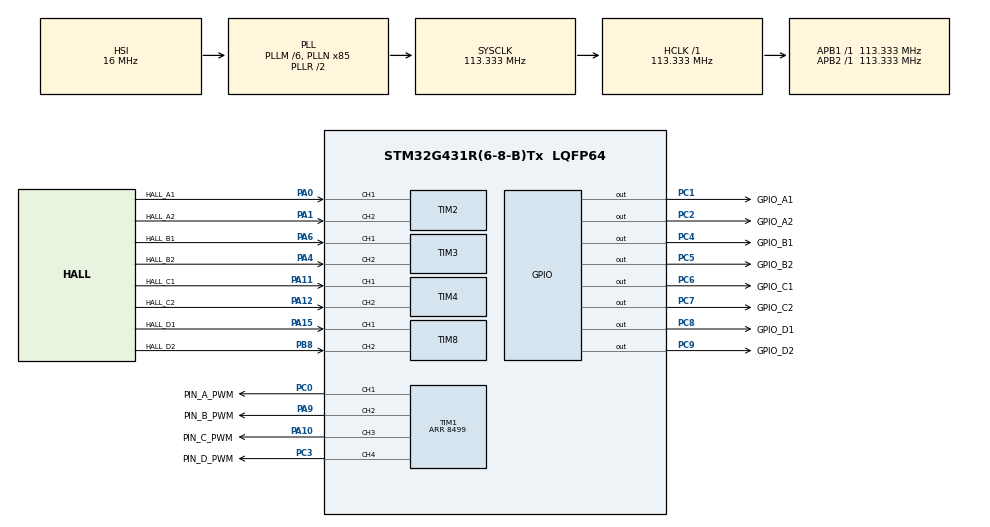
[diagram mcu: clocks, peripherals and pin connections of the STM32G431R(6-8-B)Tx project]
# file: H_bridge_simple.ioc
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Mcu.Family=STM32G4
Mcu.Name=STM32G431R(6-8-B)Tx
Mcu.Package=LQFP64
NUCLEO-G431RB.BUTTON=1
NUCLEO-G431RB.LD1=true
NUCLEO-G431RB.VCP=true
NVIC.EXTI15_10_IRQn=true\:0\:0\:false\:false\:true\:false\:true\:true
NVIC.PriorityGroup=NVIC_PRIORITYGROUP_4
PA0.GPIO_Label=HALL_A1
PA0.Signal=S_TIM2_CH1
PA1.GPIO_Label=HALL_A2
PA1.Signal=S_TIM2_CH2
PA10.GPIO_Label=PIN_C_PWM
PA10.Signal=S_TIM1_CH3
PA11.GPIO_Label=HALL_C1
PA11.Signal=S_TIM4_CH1
PA12.GPIO_Label=HALL_C2
PA12.Signal=S_TIM4_CH2
PA13.GPIO_Label=T_SWDIO
PA13.Signal=SYS_JTMS-SWDIO
PA14.GPIO_Label=T_SWCLK
PA14.Signal=SYS_JTCK-SWCLK
PA15.GPIO_Label=HALL_D1
PA15.Signal=S_TIM8_CH1
PA2.Signal=LPUART1_TX
PA3.Signal=LPUART1_RX
PA4.GPIO_Label=HALL_B2
PA4.Signal=S_TIM3_CH2
PA6.GPIO_Label=HALL_B1
PA6.Signal=S_TIM3_CH1
PA9.GPIO_Label=PIN_B_PWM
PA9.Signal=S_TIM1_CH2
PB3.GPIO_Label=T_SWO
PB3.Signal=SYS_JTDO-SWO
PB8-BOOT0.GPIO_Label=HALL_D2
PB8-BOOT0.Signal=S_TIM8_CH2
PC0.GPIO_Label=PIN_A_PWM
PC0.Signal=S_TIM1_CH1
PC1.GPIO_Label=GPIO_A1
PC1.Signal=GPIO_Output
PC14-OSC32_IN.GPIO_Label=RCC_OSC32_OUT
PC14-OSC32_IN.Signal=RCC_OSC32_IN
PC15-OSC32_OUT.GPIO_Label=RCC_OSC32_OUT
PC15-OSC32_OUT.Signal=RCC_OSC32_OUT
PC2.GPIO_Label=GPIO_A2
PC2.Signal=GPIO_Output
PC3.GPIO_Label=PIN_D_PWM
PC3.Signal=S_TIM1_CH4
PC4.GPIO_Label=GPIO_B1
PC4.Signal=GPIO_Output
PC5.GPIO_Label=GPIO_B2
PC5.Signal=GPIO_Output
PC6.GPIO_Label=GPIO_C1
PC6.Signal=GPIO_Output
PC7.GPIO_Label=GPIO_C2
PC7.Signal=GPIO_Output
PC8.GPIO_Label=GPIO_D1
PC8.Signal=GPIO_Output
PC9.GPIO_Label=GPIO_D2
PC9.Signal=GPIO_Output
PF0-OSC_IN.GPIO_Label=RCC_OSC_IN
PF0-OSC_IN.Signal=RCC_OSC_IN
PF1-OSC_OUT.GPIO_Label=RCC_OSC_OUT
PF1-OSC_OUT.Signal=RCC_OSC_OUT
ProjectManager.HeapSize=0x200
ProjectManager.StackSize=0x400
ProjectManager.TargetToolchain=STM32CubeIDE
RCC.ADC12Freq_Value=113333333.33333333
RCC.AHBFreq_Value=113333333.33333333
RCC.APB1Freq_Value=113333333.33333333
RCC.APB1TimFreq_Value=113333333.33333333
RCC.APB2Freq_Value=113333333.33333333
RCC.APB2TimFreq_Value=113333333.33333333
RCC.CortexFreq_Value=113333333.33333333
RCC.EXTERNAL_CLOCK_VALUE=12288000
RCC.HCLKFreq_Value=113333333.33333333
RCC.HSE_VALUE=24000000
RCC.HSI48_VALUE=48000000
RCC.HSI_VALUE=16000000
RCC.LSE_VALUE=32768
RCC.PLLM=RCC_PLLM_DIV6
RCC.PLLN=85
RCC.RTCClockSelection=RCC_RTCCLKSOURCE_LSE
RCC.SYSCLKFreq_VALUE=113333333.33333333
RCC.SYSCLKSource=RCC_SYSCLKSOURCE_PLLCLK
RCC.USBFreq_Value=113333333.33333333
RCC.VCOOutputFreq_Value=226666666.66666666
SH.S_TIM1_CH1.0=TIM1_CH1,PWM Generation1 CH1
SH.S_TIM1_CH2.0=TIM1_CH2,PWM Generation2 CH2
SH.S_TIM1_CH3.0=TIM1_CH3,PWM Generation3 CH3
SH.S_TIM1_CH4.0=TIM1_CH4,PWM Generation4 CH4
SH.S_TIM2_CH1.0=TIM2_CH1,Encoder_Interface
SH.S_TIM2_CH2.0=TIM2_CH2,Encoder_Interface
SH.S_TIM3_CH1.0=TIM3_CH1,Encoder_Interface
SH.S_TIM3_CH2.0=TIM3_CH2,Encoder_Interface
SH.S_TIM4_CH1.0=TIM4_CH1,Encoder_Interface
SH.S_TIM4_CH2.0=TIM4_CH2,Encoder_Interface
SH.S_TIM8_CH1.0=TIM8_CH1,Encoder_Interface
SH.S_TIM8_CH2.0=TIM8_CH2,Encoder_Interface
TIM1.AutoReloadPreload=TIM_AUTORELOAD_PRELOAD_ENABLE
TIM1.Channel-PWM\ Generation1\ CH1=TIM_CHANNEL_1
TIM1.Channel-PWM\ Generation2\ CH2=TIM_CHANNEL_2
TIM1.Channel-PWM\ Generation3\ CH3=TIM_CHANNEL_3
TIM1.Channel-PWM\ Generation4\ CH4=TIM_CHANNEL_4
TIM1.PeriodNoDither=8499
VP_NUCLEO-G431RB_VS_BSP_COMMON.Mode=COMMON
VP_SYS_VS_DBSignals.Mode=DisableDeadBatterySignals
VP_TIM1_VS_ClockSourceINT.Mode=Internal
board=NUCLEO-G431RB

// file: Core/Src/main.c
/* USER CODE BEGIN Header */
/**
  * Control code for four HTW77 linear actuators, driven by HC106AS2 H-bridge controllers.
  *
  * Per actuator:
  *   IN1/IN2 (GPIOC)   -> direction
  *   TIM1_CHx PWM      -> speed
  *   TIMx encoder      -> Hall A/B quadrature, counted in hardware
  *
  * Pin / timer map (see .ioc):
  *   A: PWM TIM1_CH1 (PC0)  Hall TIM2 (PA0, PA1)
  *   B: PWM TIM1_CH2 (PA9)  Hall TIM3 (PA6, PA4)
  *   C: PWM TIM1_CH3 (PA10) Hall TIM4 (PA11, PA12)
  *   D: PWM TIM1_CH4 (PC3)  Hall TIM8 (PA15, PB8)   <- PB8 is BOOT0, see notes
  *
  * Usage:
  *   actuators_home_all();                         // drive to retracted end stop, zero counts
  *   actuator_goto_mm(ACTUATOR_A, 120.0f, 0.5f, true);
  *   actuator_move_mm(ACTUATOR_B, -20.0f, 0.5f, true);
  *   actuators_wait();                             // runs actuators_tick() until all moves end
  */
/* USER CODE END Header */
#include "main.h"

/* USER CODE BEGIN Includes */
#include <stdio.h>
#include <stdint.h>
#include <stdbool.h>
#include <stddef.h>
#include <math.h>
/* USER CODE END Includes */

/* USER CODE BEGIN PTD */

// ---------- MOTOR COMMANDS -----------
typedef enum {
	CMD_STOP    = 0b00,
	CMD_FORWARD = 0b10,   // bit 1 -> IN1
	CMD_REVERSE = 0b01,   // bit 0 -> IN2
} ActuatorCommand_t;

typedef enum {
	ACTUATOR_A,
	ACTUATOR_B,
	ACTUATOR_C,
	ACTUATOR_D,
	ACTUATOR_COUNT        // keep last: number of actuators
} ActuatorId_t;

typedef enum {
	MOVE_IDLE,
	MOVE_RUNNING,
	MOVE_DONE,
	MOVE_STALLED,
	MOVE_TIMEOUT
} MoveStatus_t;

// Constant configuration (lives in flash)
typedef struct {
	uint16_t           pin_in1;      // GPIO mask, all direction pins are on PIN_PORT
	uint16_t           pin_in2;
	uint32_t           pwm_channel;  // TIM_CHANNEL_x on TIM1 (NOT a GPIO pin)
	TIM_HandleTypeDef *enc_tim;      // encoder timer for this actuator's Hall sensors
} ActuatorCfg_t;

// Mutable runtime state (lives in RAM)
typedef struct {
	int32_t      dist;            // accumulated encoder counts, + = forward
	uint16_t     last_cnt;        // raw counter value at the last position_update()
	bool         homed;           // dist == 0 means fully retracted, once homed

	int32_t      target;          // target position in counts
	int32_t      prev_dist;       // for stall detection
	int8_t       dir;             // +1 forward, -1 reverse
	float        duty;            // duty requested for the current move
	MoveStatus_t status;
	uint32_t     start_ms;
	uint32_t     last_change_ms;
	uint32_t     timeout_ms;
	bool         slowed;
} ActuatorState_t;

typedef struct {
	float KP;
	float KI;
	float KD;

} ActuatorPID;

/* USER CODE END PTD */

/* USER CODE BEGIN PD */

	// All direction pins are on this port
#define PIN_PORT          GPIOC

	// Direction pin masks (from CubeMX labels)
#define PIN_A1            GPIO_A1_Pin
#define PIN_A2            GPIO_A2_Pin
#define PIN_B1            GPIO_B1_Pin
#define PIN_B2            GPIO_B2_Pin
#define PIN_C1            GPIO_C1_Pin
#define PIN_C2            GPIO_C2_Pin
#define PIN_D1            GPIO_D1_Pin
#define PIN_D2            GPIO_D2_Pin

	// PWM timer channels (TIM1), matching the pins set in CubeMX
#define PWM_A             TIM_CHANNEL_1
#define PWM_B             TIM_CHANNEL_2
#define PWM_C             TIM_CHANNEL_3
#define PWM_D             TIM_CHANNEL_4

	// Electrical / mechanical limits
#define MAX_DUTY          0.98f   // upper PWM limit
#define MIN_MOVE_DUTY     0.10f   // lowest duty allowed for position moves
#define DEAD_TIME_MS      100     // pause when reversing (safety = true)
#define MAX_SPEED_MM_S    7.0f    // HTW77 rated speed at full voltage
#define STROKE_MM         700.0f  // HTW77 stroke

	// Hall sensor / position control
#define COUNTS_PER_MM     25.0f   // Still off after measuring, 19133 counts for full stroke, original 27.33.f
#define STROKE_COUNTS     ((int32_t)(STROKE_MM * COUNTS_PER_MM))
#define STALL_MS          500     // no counts for this long while moving => stalled
#define SLOW_COUNTS       40      // start slowing this close to the target
#define SLOW_DUTY         0.25f

	// Homing
#define HOME_DUTY         0.5f
#define HOME_MARGIN_MM    50.0f   // extra travel allowed beyond a full stroke when homing
#define HOME_FAR_COUNTS   (-(1 << 30))  // "keep going" target, ends on stall or timeout

/* USER CODE END PD */

COM_InitTypeDef BspCOMInit;
TIM_HandleTypeDef htim1;
TIM_HandleTypeDef htim2;
TIM_HandleTypeDef htim3;
TIM_HandleTypeDef htim4;
TIM_HandleTypeDef htim8;

/* USER CODE BEGIN PV */

static const ActuatorCfg_t actuator_cfg[ACTUATOR_COUNT] = {
	[ACTUATOR_A] = { PIN_A1, PIN_A2, PWM_A, &htim2 },
	[ACTUATOR_B] = { PIN_B1, PIN_B2, PWM_B, &htim3 },
	[ACTUATOR_C] = { PIN_C1, PIN_C2, PWM_C, &htim4 },
	[ACTUATOR_D] = { PIN_D1, PIN_D2, PWM_D, &htim8 },
};

// Only the main loop touches this. If you move actuators_tick() into a timer ISR,
// make this volatile and call position_update() from that one place only.
static ActuatorState_t actuator_state[ACTUATOR_COUNT];

/* USER CODE END PV */

void SystemClock_Config(void);
static void MX_GPIO_Init(void);
static void MX_TIM1_Init(void);
static void MX_TIM2_Init(void);
static void MX_TIM3_Init(void);
static void MX_TIM4_Init(void);
static void MX_TIM8_Init(void);
/* USER CODE BEGIN PFP */

static HAL_StatusTypeDef motor_set(ActuatorCommand_t cmd, float duty, bool safety, ActuatorId_t id);
static void              position_update(void);
static void              actuators_init(void);
static void              actuators_stop_all(void);
static void              actuators_tick(void);
static bool              actuators_busy(void);
static void              actuators_wait(void);
static HAL_StatusTypeDef actuator_move_mm(ActuatorId_t id, float mm, float duty, bool safety);
static HAL_StatusTypeDef actuator_goto_mm(ActuatorId_t id, float abs_mm, float duty, bool safety);
static HAL_StatusTypeDef actuators_home_all(void);
static void              print_state(const char *tag);
static void              calibrate_stroke(ActuatorId_t id);   // <-- add this

/* USER CODE END PFP */

int main(void)
{

  /* MCU Configuration--------------------------------------------------------*/

  /* Reset of all peripherals, Initializes the Flash interface and the Systick. */
  HAL_Init();

  /* USER CODE BEGIN Init */
  HAL_StatusTypeDef status = HAL_OK;
  /* USER CODE END Init */

  /* Configure the system clock */
  SystemClock_Config();

  /* Initialize all configured peripherals */
  MX_GPIO_Init();
  MX_TIM1_Init();
  MX_TIM2_Init();
  MX_TIM3_Init();
  MX_TIM4_Init();
  MX_TIM8_Init();
  /* USER CODE BEGIN 2 */

  // Start all four PWM channels (compare values are 0 from CubeMX, so nothing moves yet)
  const uint32_t pwm_channels[] = { PWM_A, PWM_B, PWM_C, PWM_D };
  for (size_t i = 0; i < sizeof(pwm_channels) / sizeof(pwm_channels[0]); i++)
  {
    if (HAL_TIM_PWM_Start(&htim1, pwm_channels[i]) != HAL_OK) Error_Handler();
  }

  // Start the four encoder timers (Hall A/B decoded in hardware)
  for (int i = 0; i < ACTUATOR_COUNT; i++)
  {
    if (HAL_TIM_Encoder_Start(actuator_cfg[i].enc_tim, TIM_CHANNEL_ALL) != HAL_OK) Error_Handler();
  }
  actuators_init();

  /* USER CODE END 2 */

  /* Initialize leds */
  BSP_LED_Init(LED_GREEN);

  /* Initialize USER push-button, will be used to trigger an interrupt each time it's pressed.*/
  BSP_PB_Init(BUTTON_USER, BUTTON_MODE_EXTI);

  /* Initialize COM1 port (115200, 8 bits (7-bit data + 1 stop bit), no parity */
  BspCOMInit.BaudRate   = 115200;
  BspCOMInit.WordLength = COM_WORDLENGTH_8B;
  BspCOMInit.StopBits   = COM_STOPBITS_1;
  BspCOMInit.Parity     = COM_PARITY_NONE;
  BspCOMInit.HwFlowCtl  = COM_HWCONTROL_NONE;
  if (BSP_COM_Init(COM1, &BspCOMInit) != BSP_ERROR_NONE)
  {
    Error_Handler();
  }

  /* Infinite loop */
  /* USER CODE BEGIN WHILE */

  // Startup: drive every actuator to the retracted end stop and zero its count

/*
  print_state("homing");
  if (actuators_home_all() != HAL_OK)
  {
    print_state("home failed");
    Error_Handler();
  }
  print_state("homed");

*/

  while (1)
  {

    /* USER CODE END WHILE */

    /* USER CODE BEGIN 3 */

	// Extend A by 50 mm and B by 20 mm, in parallel
	status = actuator_move_mm(ACTUATOR_A, 50.0f, 0.5f, true);
	if (status != HAL_OK) Error_Handler();
	status = actuator_move_mm(ACTUATOR_B, 20.0f, 0.5f, true);
	if (status != HAL_OK) Error_Handler();
	BSP_LED_Toggle(LED_GREEN);
	actuators_wait();
	print_state("extended");
	HAL_Delay(2000);

	// Retract both back to their start
	status = actuator_move_mm(ACTUATOR_A, -50.0f, 0.5f, true);
	if (status != HAL_OK) Error_Handler();
	status = actuator_move_mm(ACTUATOR_B, -20.0f, 0.5f, true);
	if (status != HAL_OK) Error_Handler();
	BSP_LED_Toggle(LED_GREEN);
	actuators_wait();
	print_state("retracted");
	HAL_Delay(2000);

  }
  /* USER CODE END 3 */
}

void SystemClock_Config(void)
{
  RCC_OscInitTypeDef RCC_OscInitStruct = {0};
  RCC_ClkInitTypeDef RCC_ClkInitStruct = {0};

  /** Configure the main internal regulator output voltage
  */
  HAL_PWREx_ControlVoltageScaling(PWR_REGULATOR_VOLTAGE_SCALE1);

  /** Initializes the RCC Oscillators according to the specified parameters
  * in the RCC_OscInitTypeDef structure.
  */
  RCC_OscInitStruct.OscillatorType = RCC_OSCILLATORTYPE_HSI;
  RCC_OscInitStruct.HSIState = RCC_HSI_ON;
  RCC_OscInitStruct.HSICalibrationValue = RCC_HSICALIBRATION_DEFAULT;
  RCC_OscInitStruct.PLL.PLLState = RCC_PLL_ON;
  RCC_OscInitStruct.PLL.PLLSource = RCC_PLLSOURCE_HSI;
  RCC_OscInitStruct.PLL.PLLM = RCC_PLLM_DIV6;
  RCC_OscInitStruct.PLL.PLLN = 85;
  RCC_OscInitStruct.PLL.PLLP = RCC_PLLP_DIV2;
  RCC_OscInitStruct.PLL.PLLQ = RCC_PLLQ_DIV2;
  RCC_OscInitStruct.PLL.PLLR = RCC_PLLR_DIV2;
  if (HAL_RCC_OscConfig(&RCC_OscInitStruct) != HAL_OK)
  {
    Error_Handler();
  }

  /** Initializes the CPU, AHB and APB buses clocks
  */
  RCC_ClkInitStruct.ClockType = RCC_CLOCKTYPE_HCLK|RCC_CLOCKTYPE_SYSCLK
                              |RCC_CLOCKTYPE_PCLK1|RCC_CLOCKTYPE_PCLK2;
  RCC_ClkInitStruct.SYSCLKSource = RCC_SYSCLKSOURCE_PLLCLK;
  RCC_ClkInitStruct.AHBCLKDivider = RCC_SYSCLK_DIV1;
  RCC_ClkInitStruct.APB1CLKDivider = RCC_HCLK_DIV1;
  RCC_ClkInitStruct.APB2CLKDivider = RCC_HCLK_DIV1;

  if (HAL_RCC_ClockConfig(&RCC_ClkInitStruct, FLASH_LATENCY_3) != HAL_OK)
  {
    Error_Handler();
  }
}

static void MX_TIM1_Init(void)
{

  TIM_ClockConfigTypeDef sClockSourceConfig = {0};
  TIM_MasterConfigTypeDef sMasterConfig = {0};
  TIM_OC_InitTypeDef sConfigOC = {0};
  TIM_BreakDeadTimeConfigTypeDef sBreakDeadTimeConfig = {0};

  htim1.Instance = TIM1;
  htim1.Init.Prescaler = 0;
  htim1.Init.CounterMode = TIM_COUNTERMODE_UP;
  htim1.Init.Period = 8499;
  htim1.Init.ClockDivision = TIM_CLOCKDIVISION_DIV1;
  htim1.Init.RepetitionCounter = 0;
  htim1.Init.AutoReloadPreload = TIM_AUTORELOAD_PRELOAD_ENABLE;
  if (HAL_TIM_Base_Init(&htim1) != HAL_OK)
  {
    Error_Handler();
  }
  sClockSourceConfig.ClockSource = TIM_CLOCKSOURCE_INTERNAL;
  if (HAL_TIM_ConfigClockSource(&htim1, &sClockSourceConfig) != HAL_OK)
  {
    Error_Handler();
  }
  if (HAL_TIM_PWM_Init(&htim1) != HAL_OK)
  {
    Error_Handler();
  }
  sMasterConfig.MasterOutputTrigger = TIM_TRGO_RESET;
  sMasterConfig.MasterOutputTrigger2 = TIM_TRGO2_RESET;
  sMasterConfig.MasterSlaveMode = TIM_MASTERSLAVEMODE_DISABLE;
  if (HAL_TIMEx_MasterConfigSynchronization(&htim1, &sMasterConfig) != HAL_OK)
  {
    Error_Handler();
  }
  sConfigOC.OCMode = TIM_OCMODE_PWM1;
  sConfigOC.Pulse = 0;
  sConfigOC.OCPolarity = TIM_OCPOLARITY_HIGH;
  sConfigOC.OCNPolarity = TIM_OCNPOLARITY_HIGH;
  sConfigOC.OCFastMode = TIM_OCFAST_DISABLE;
  sConfigOC.OCIdleState = TIM_OCIDLESTATE_RESET;
  sConfigOC.OCNIdleState = TIM_OCNIDLESTATE_RESET;
  if (HAL_TIM_PWM_ConfigChannel(&htim1, &sConfigOC, TIM_CHANNEL_1) != HAL_OK)
  {
    Error_Handler();
  }
  if (HAL_TIM_PWM_ConfigChannel(&htim1, &sConfigOC, TIM_CHANNEL_2) != HAL_OK)
  {
    Error_Handler();
  }
  if (HAL_TIM_PWM_ConfigChannel(&htim1, &sConfigOC, TIM_CHANNEL_3) != HAL_OK)
  {
    Error_Handler();
  }
  if (HAL_TIM_PWM_ConfigChannel(&htim1, &sConfigOC, TIM_CHANNEL_4) != HAL_OK)
  {
    Error_Handler();
  }
  sBreakDeadTimeConfig.OffStateRunMode = TIM_OSSR_DISABLE;
  sBreakDeadTimeConfig.OffStateIDLEMode = TIM_OSSI_DISABLE;
  sBreakDeadTimeConfig.LockLevel = TIM_LOCKLEVEL_OFF;
  sBreakDeadTimeConfig.DeadTime = 0;
  sBreakDeadTimeConfig.BreakState = TIM_BREAK_DISABLE;
  sBreakDeadTimeConfig.BreakPolarity = TIM_BREAKPOLARITY_HIGH;
  sBreakDeadTimeConfig.BreakFilter = 0;
  sBreakDeadTimeConfig.BreakAFMode = TIM_BREAK_AFMODE_INPUT;
  sBreakDeadTimeConfig.Break2State = TIM_BREAK2_DISABLE;
  sBreakDeadTimeConfig.Break2Polarity = TIM_BREAK2POLARITY_HIGH;
  sBreakDeadTimeConfig.Break2Filter = 0;
  sBreakDeadTimeConfig.Break2AFMode = TIM_BREAK_AFMODE_INPUT;
  sBreakDeadTimeConfig.AutomaticOutput = TIM_AUTOMATICOUTPUT_DISABLE;
  if (HAL_TIMEx_ConfigBreakDeadTime(&htim1, &sBreakDeadTimeConfig) != HAL_OK)
  {
    Error_Handler();
  }
  HAL_TIM_MspPostInit(&htim1);

}

static void MX_TIM2_Init(void)
{

  TIM_Encoder_InitTypeDef sConfig = {0};
  TIM_MasterConfigTypeDef sMasterConfig = {0};

  htim2.Instance = TIM2;
  htim2.Init.Prescaler = 0;
  htim2.Init.CounterMode = TIM_COUNTERMODE_UP;
  htim2.Init.Period = 4294967295;
  htim2.Init.ClockDivision = TIM_CLOCKDIVISION_DIV1;
  htim2.Init.AutoReloadPreload = TIM_AUTORELOAD_PRELOAD_DISABLE;
  sConfig.EncoderMode = TIM_ENCODERMODE_TI1;
  sConfig.IC1Polarity = TIM_ICPOLARITY_RISING;
  sConfig.IC1Selection = TIM_ICSELECTION_DIRECTTI;
  sConfig.IC1Prescaler = TIM_ICPSC_DIV1;
  sConfig.IC1Filter = 0;
  sConfig.IC2Polarity = TIM_ICPOLARITY_RISING;
  sConfig.IC2Selection = TIM_ICSELECTION_DIRECTTI;
  sConfig.IC2Prescaler = TIM_ICPSC_DIV1;
  sConfig.IC2Filter = 0;
  if (HAL_TIM_Encoder_Init(&htim2, &sConfig) != HAL_OK)
  {
    Error_Handler();
  }
  sMasterConfig.MasterOutputTrigger = TIM_TRGO_RESET;
  sMasterConfig.MasterSlaveMode = TIM_MASTERSLAVEMODE_DISABLE;
  if (HAL_TIMEx_MasterConfigSynchronization(&htim2, &sMasterConfig) != HAL_OK)
  {
    Error_Handler();
  }

}

static void MX_TIM3_Init(void)
{

  TIM_Encoder_InitTypeDef sConfig = {0};
  TIM_MasterConfigTypeDef sMasterConfig = {0};

  htim3.Instance = TIM3;
  htim3.Init.Prescaler = 0;
  htim3.Init.CounterMode = TIM_COUNTERMODE_UP;
  htim3.Init.Period = 65535;
  htim3.Init.ClockDivision = TIM_CLOCKDIVISION_DIV1;
  htim3.Init.AutoReloadPreload = TIM_AUTORELOAD_PRELOAD_DISABLE;
  sConfig.EncoderMode = TIM_ENCODERMODE_TI1;
  sConfig.IC1Polarity = TIM_ICPOLARITY_RISING;
  sConfig.IC1Selection = TIM_ICSELECTION_DIRECTTI;
  sConfig.IC1Prescaler = TIM_ICPSC_DIV1;
  sConfig.IC1Filter = 0;
  sConfig.IC2Polarity = TIM_ICPOLARITY_RISING;
  sConfig.IC2Selection = TIM_ICSELECTION_DIRECTTI;
  sConfig.IC2Prescaler = TIM_ICPSC_DIV1;
  sConfig.IC2Filter = 0;
  if (HAL_TIM_Encoder_Init(&htim3, &sConfig) != HAL_OK)
  {
    Error_Handler();
  }
  sMasterConfig.MasterOutputTrigger = TIM_TRGO_RESET;
  sMasterConfig.MasterSlaveMode = TIM_MASTERSLAVEMODE_DISABLE;
  if (HAL_TIMEx_MasterConfigSynchronization(&htim3, &sMasterConfig) != HAL_OK)
  {
    Error_Handler();
  }

}

static void MX_TIM4_Init(void)
{

  TIM_Encoder_InitTypeDef sConfig = {0};
  TIM_MasterConfigTypeDef sMasterConfig = {0};

  htim4.Instance = TIM4;
  htim4.Init.Prescaler = 0;
  htim4.Init.CounterMode = TIM_COUNTERMODE_UP;
  htim4.Init.Period = 65535;
  htim4.Init.ClockDivision = TIM_CLOCKDIVISION_DIV1;
  htim4.Init.AutoReloadPreload = TIM_AUTORELOAD_PRELOAD_DISABLE;
  sConfig.EncoderMode = TIM_ENCODERMODE_TI1;
  sConfig.IC1Polarity = TIM_ICPOLARITY_RISING;
  sConfig.IC1Selection = TIM_ICSELECTION_DIRECTTI;
  sConfig.IC1Prescaler = TIM_ICPSC_DIV1;
  sConfig.IC1Filter = 0;
  sConfig.IC2Polarity = TIM_ICPOLARITY_RISING;
  sConfig.IC2Selection = TIM_ICSELECTION_DIRECTTI;
  sConfig.IC2Prescaler = TIM_ICPSC_DIV1;
  sConfig.IC2Filter = 0;
  if (HAL_TIM_Encoder_Init(&htim4, &sConfig) != HAL_OK)
  {
    Error_Handler();
  }
  sMasterConfig.MasterOutputTrigger = TIM_TRGO_RESET;
  sMasterConfig.MasterSlaveMode = TIM_MASTERSLAVEMODE_DISABLE;
  if (HAL_TIMEx_MasterConfigSynchronization(&htim4, &sMasterConfig) != HAL_OK)
  {
    Error_Handler();
  }

}

static void MX_TIM8_Init(void)
{

  TIM_Encoder_InitTypeDef sConfig = {0};
  TIM_MasterConfigTypeDef sMasterConfig = {0};

  htim8.Instance = TIM8;
  htim8.Init.Prescaler = 0;
  htim8.Init.CounterMode = TIM_COUNTERMODE_UP;
  htim8.Init.Period = 65535;
  htim8.Init.ClockDivision = TIM_CLOCKDIVISION_DIV1;
  htim8.Init.RepetitionCounter = 0;
  htim8.Init.AutoReloadPreload = TIM_AUTORELOAD_PRELOAD_DISABLE;
  sConfig.EncoderMode = TIM_ENCODERMODE_TI1;
  sConfig.IC1Polarity = TIM_ICPOLARITY_RISING;
  sConfig.IC1Selection = TIM_ICSELECTION_DIRECTTI;
  sConfig.IC1Prescaler = TIM_ICPSC_DIV1;
  sConfig.IC1Filter = 0;
  sConfig.IC2Polarity = TIM_ICPOLARITY_RISING;
  sConfig.IC2Selection = TIM_ICSELECTION_DIRECTTI;
  sConfig.IC2Prescaler = TIM_ICPSC_DIV1;
  sConfig.IC2Filter = 0;
  if (HAL_TIM_Encoder_Init(&htim8, &sConfig) != HAL_OK)
  {
    Error_Handler();
  }
  sMasterConfig.MasterOutputTrigger = TIM_TRGO_RESET;
  sMasterConfig.MasterOutputTrigger2 = TIM_TRGO2_RESET;
  sMasterConfig.MasterSlaveMode = TIM_MASTERSLAVEMODE_DISABLE;
  if (HAL_TIMEx_MasterConfigSynchronization(&htim8, &sMasterConfig) != HAL_OK)
  {
    Error_Handler();
  }

}

static void MX_GPIO_Init(void)
{
  GPIO_InitTypeDef GPIO_InitStruct = {0};

  /* GPIO Ports Clock Enable */
  __HAL_RCC_GPIOC_CLK_ENABLE();
  __HAL_RCC_GPIOF_CLK_ENABLE();
  __HAL_RCC_GPIOA_CLK_ENABLE();
  __HAL_RCC_GPIOB_CLK_ENABLE();

  /*Configure GPIO pin Output Level */
  HAL_GPIO_WritePin(GPIOC, GPIO_A1_Pin|GPIO_A2_Pin|GPIO_B1_Pin|GPIO_B2_Pin
                          |GPIO_C1_Pin|GPIO_C2_Pin|GPIO_D1_Pin|GPIO_D2_Pin, GPIO_PIN_RESET);

  /*Configure GPIO pins : GPIO_A1_Pin GPIO_A2_Pin GPIO_B1_Pin GPIO_B2_Pin
                           GPIO_C1_Pin GPIO_C2_Pin GPIO_D1_Pin GPIO_D2_Pin */
  GPIO_InitStruct.Pin = GPIO_A1_Pin|GPIO_A2_Pin|GPIO_B1_Pin|GPIO_B2_Pin
                          |GPIO_C1_Pin|GPIO_C2_Pin|GPIO_D1_Pin|GPIO_D2_Pin;
  GPIO_InitStruct.Mode = GPIO_MODE_OUTPUT_PP;
  GPIO_InitStruct.Pull = GPIO_NOPULL;
  GPIO_InitStruct.Speed = GPIO_SPEED_FREQ_LOW;
  HAL_GPIO_Init(GPIOC, &GPIO_InitStruct);

}

/* USER CODE BEGIN 4 */

/* ======================= Motor driver ======================= */

/**
  * Set direction and speed of one actuator.
  *  - CMD_STOP always succeeds (the duty value is ignored) and zeroes that actuator's PWM.
  *  - safety = true: clear this actuator's direction pins and wait DEAD_TIME_MS before
  *    applying the new direction (use on every direction change). Blocks, so never call
  *    it from an ISR. Other running actuators are not ticked during the wait.
  */
static HAL_StatusTypeDef motor_set(ActuatorCommand_t cmd,
                                   float duty,
                                   bool safety,
                                   ActuatorId_t id)
{
	if (cmd != CMD_STOP && cmd != CMD_FORWARD && cmd != CMD_REVERSE) return HAL_ERROR;
	if ((unsigned)id >= ACTUATOR_COUNT) return HAL_ERROR;

	const ActuatorCfg_t *p = &actuator_cfg[id];

	// Always cut this actuator's PWM first
	__HAL_TIM_SET_COMPARE(&htim1, p->pwm_channel, 0);

	if (cmd == CMD_STOP)
	{
		HAL_GPIO_WritePin(PIN_PORT, p->pin_in1 | p->pin_in2, GPIO_PIN_RESET);
		return HAL_OK;
	}

	// Reject bad duty (also rejects NaN). PWM is already 0, so this fails safe.
	if (!(duty >= 0.0f && duty <= MAX_DUTY)) return HAL_ERROR;

	// Optional dead time for this actuator only
	if (safety)
	{
		HAL_GPIO_WritePin(PIN_PORT, p->pin_in1 | p->pin_in2, GPIO_PIN_RESET);
		HAL_Delay(DEAD_TIME_MS);
	}

	// Direction: bit 1 -> IN1, bit 0 -> IN2
	HAL_GPIO_WritePin(PIN_PORT, p->pin_in1, (cmd & 0b10) ? GPIO_PIN_SET : GPIO_PIN_RESET);
	HAL_GPIO_WritePin(PIN_PORT, p->pin_in2, (cmd & 0b01) ? GPIO_PIN_SET : GPIO_PIN_RESET);

	// Speed, scaled from the timer's real auto-reload value
	uint32_t arr = __HAL_TIM_GET_AUTORELOAD(&htim1);
	__HAL_TIM_SET_COMPARE(&htim1, p->pwm_channel, (uint32_t)(duty * (float)(arr + 1U)));

	return HAL_OK;
}

/* ======================= Position (Hall sensors) ======================= */

/**
  * Fold the hardware encoder counters into each actuator's accumulated position.
  * The 16-bit subtraction handles counter wraparound. Call this often enough that an
  * actuator can't move more than 32767 counts between calls. Single caller only.
  */
static void position_update(void)
{
	for (int i = 0; i < ACTUATOR_COUNT; i++)
	{
		if (!actuator_cfg[i].enc_tim) continue;

		uint16_t now   = (uint16_t)__HAL_TIM_GET_COUNTER(actuator_cfg[i].enc_tim);
		int16_t  delta = (int16_t)(now - actuator_state[i].last_cnt);

		actuator_state[i].last_cnt = now;
		actuator_state[i].dist    += delta;
	}
}

static void actuators_init(void)
{
	for (int i = 0; i < ACTUATOR_COUNT; i++)
	{
		actuator_state[i].dist     = 0;
		actuator_state[i].homed    = false;
		actuator_state[i].status   = MOVE_IDLE;
		actuator_state[i].last_cnt = (uint16_t)__HAL_TIM_GET_COUNTER(actuator_cfg[i].enc_tim);
	}
}

/* ======================= Moves ======================= */

static void actuators_stop_all(void)
{
	for (int i = 0; i < ACTUATOR_COUNT; i++)
	{
		motor_set(CMD_STOP, 0.0f, false, (ActuatorId_t)i);
		if (actuator_state[i].status == MOVE_RUNNING) actuator_state[i].status = MOVE_IDLE;
	}
}

// Backstop time for a move: generous multiple of the ideal time at this duty
static uint32_t move_timeout_ms(float abs_mm, float duty)
{
	return (uint32_t)(abs_mm / MAX_SPEED_MM_S / duty * 1000.0f * 2.0f) + 2000U;
}

/**
  * Start a move of `counts` (signed) from the current position. Does not wait.
  * Once homed, targets outside 0..STROKE_COUNTS are rejected.
  */
static HAL_StatusTypeDef start_move(ActuatorId_t id, int32_t counts, float duty,
                                    bool safety, uint32_t timeout_ms)
{
	if ((unsigned)id >= ACTUATOR_COUNT) return HAL_ERROR;
	if (!(duty >= MIN_MOVE_DUTY && duty <= MAX_DUTY)) return HAL_ERROR;   // also rejects NaN

	position_update();    // make sure dist is current before computing the target

	ActuatorState_t *s = &actuator_state[id];

	if (counts == 0)
	{
		s->status = MOVE_DONE;
		return HAL_OK;
	}

	int32_t target = s->dist + counts;
	if (s->homed && (target < 0 || target > STROKE_COUNTS)) return HAL_ERROR;

	s->dir    = (counts > 0) ? 1 : -1;
	s->target = target;
	s->duty   = duty;

	HAL_StatusTypeDef st = motor_set(s->dir > 0 ? CMD_FORWARD : CMD_REVERSE, duty, safety, id);
	if (st != HAL_OK) return st;

	// Take timestamps AFTER motor_set, since safety = true blocks for DEAD_TIME_MS
	uint32_t now      = HAL_GetTick();
	s->prev_dist      = s->dist;
	s->start_ms       = now;
	s->last_change_ms = now;
	s->timeout_ms     = timeout_ms;
	s->slowed         = false;
	s->status         = MOVE_RUNNING;
	return HAL_OK;
}

// Move by a relative distance in mm (negative = retract)
static HAL_StatusTypeDef actuator_move_mm(ActuatorId_t id, float mm, float duty, bool safety)
{
	if (!(fabsf(mm) <= STROKE_MM)) return HAL_ERROR;   // also rejects NaN
	if (!(duty >= MIN_MOVE_DUTY)) return HAL_ERROR;    // keeps the timeout calculation finite

	int32_t counts = (int32_t)lroundf(mm * COUNTS_PER_MM);   // round to the nearest Hall count
	return start_move(id, counts, duty, safety, move_timeout_ms(fabsf(mm), duty));
}

// Move to an absolute position in mm (0 = fully retracted). Requires homing first.
static HAL_StatusTypeDef actuator_goto_mm(ActuatorId_t id, float abs_mm, float duty, bool safety)
{
	if ((unsigned)id >= ACTUATOR_COUNT) return HAL_ERROR;
	if (!actuator_state[id].homed) return HAL_ERROR;
	if (!(abs_mm >= 0.0f && abs_mm <= STROKE_MM)) return HAL_ERROR;   // also rejects NaN
	if (!(duty >= MIN_MOVE_DUTY)) return HAL_ERROR;

	position_update();
	int32_t target = (int32_t)lroundf(abs_mm * COUNTS_PER_MM);
	int32_t counts = target - actuator_state[id].dist;
	float   mm     = fabsf((float)counts) / COUNTS_PER_MM;
	return start_move(id, counts, duty, safety, move_timeout_ms(mm, duty));
}

/**
  * Run every pending move. Call at a fixed, fast rate (the encoders keep counting in
  * hardware, but stops are only checked here). Never blocks, and only uses
  * motor_set(CMD_STOP, ...), so it is ISR-safe if position_update() has a single caller.
  */
static void actuators_tick(void)
{
	position_update();
	uint32_t now = HAL_GetTick();

	for (int i = 0; i < ACTUATOR_COUNT; i++)
	{
		ActuatorState_t *s = &actuator_state[i];
		if (s->status != MOVE_RUNNING) continue;

		int32_t remaining = (s->target - s->dist) * s->dir;   // counts still to go

		if (remaining <= 0)                                   // arrived
		{
			motor_set(CMD_STOP, 0.0f, false, (ActuatorId_t)i);
			s->status = MOVE_DONE;
			continue;
		}

		if (s->dist != s->prev_dist)                          // still moving
		{
			s->prev_dist      = s->dist;
			s->last_change_ms = now;
		}
		else if ((now - s->last_change_ms) > STALL_MS)        // no counts: stalled
		{
			motor_set(CMD_STOP, 0.0f, false, (ActuatorId_t)i);
			s->status = MOVE_STALLED;
			continue;
		}

		if ((now - s->start_ms) > s->timeout_ms)              // overall backstop
		{
			motor_set(CMD_STOP, 0.0f, false, (ActuatorId_t)i);
			s->status = MOVE_TIMEOUT;
			continue;
		}

		if (!s->slowed && remaining < SLOW_COUNTS)            // ease in to reduce overshoot
		{
			s->slowed = true;
			if (s->duty > SLOW_DUTY)
			{
				uint32_t arr = __HAL_TIM_GET_AUTORELOAD(&htim1);
				__HAL_TIM_SET_COMPARE(&htim1, actuator_cfg[i].pwm_channel,
				                      (uint32_t)(SLOW_DUTY * (float)(arr + 1U)));
			}
		}
	}
}

static bool actuators_busy(void)
{
	for (int i = 0; i < ACTUATOR_COUNT; i++)
	{
		if (actuator_state[i].status == MOVE_RUNNING) return true;
	}
	return false;
}

static void calibrate_stroke(ActuatorId_t id)
{
    char buf[96];
    const float duty = 0.4f;                               // slow and gentle
    uint32_t timeout = move_timeout_ms(STROKE_MM + HOME_MARGIN_MM, duty);
    ActuatorState_t *s = &actuator_state[id];

    // 1. Retract to the end stop and zero
    s->homed = false;
    if (start_move(id, HOME_FAR_COUNTS, duty, false, timeout) != HAL_OK) Error_Handler();
    while (s->status == MOVE_RUNNING) { actuators_tick(); HAL_Delay(5); }
    if (s->status != MOVE_STALLED) Error_Handler();        // never found the stop
    position_update();
    s->dist = 0;
    HAL_Delay(2000);

    // 2. Extend to the far end stop
    if (start_move(id, -HOME_FAR_COUNTS, duty, true, timeout) != HAL_OK) Error_Handler();
    while (s->status == MOVE_RUNNING) { actuators_tick(); HAL_Delay(5); }
    position_update();

    // 3. Report
    int n = snprintf(buf, sizeof buf, "status=%d full-stroke counts=%ld\r\n",
                     (int)s->status, (long)s->dist);
    HAL_UART_Transmit(&hcom_uart[COM1], (uint8_t *)buf, (uint16_t)n, 100);
    motor_set(CMD_STOP, 0.0f, false, id);
}

// Block until every move has finished, stalled or timed out
static void actuators_wait(void)
{
	while (actuators_busy())
	{
		actuators_tick();
		HAL_Delay(5);
	}
}

/* ======================= Homing ======================= */

/**
  * Reverse every actuator at HOME_DUTY until it stalls against the retracted end,
  * then zero its position and mark it homed. Any actuator that doesn't stall
  * (timeout) fails homing. All four run at once, so check the 48 V supply can
  * handle the combined current, and note the 2 min on / 18 min off duty rating.
  */
static HAL_StatusTypeDef actuators_home_all(void)
{
	uint32_t timeout = move_timeout_ms(STROKE_MM + HOME_MARGIN_MM, HOME_DUTY);

	for (int i = 0; i < ACTUATOR_COUNT; i++)
	{
		actuator_state[i].homed = false;    // disable range checks while homing
		if (start_move((ActuatorId_t)i, HOME_FAR_COUNTS, HOME_DUTY, false, timeout) != HAL_OK)
		{
			actuators_stop_all();
			return HAL_ERROR;
		}
	}

	actuators_wait();

	HAL_StatusTypeDef result = HAL_OK;
	position_update();
	for (int i = 0; i < ACTUATOR_COUNT; i++)
	{
		ActuatorState_t *s = &actuator_state[i];
		if (s->status == MOVE_STALLED)      // stalled on the end stop = at position 0
		{
			s->dist   = 0;
			s->homed  = true;
			s->status = MOVE_DONE;
		}
		else
		{
			result = HAL_ERROR;             // timed out or otherwise failed to find the stop
		}
	}

	if (result != HAL_OK) actuators_stop_all();
	return result;
}

/* ======================= Debug output ======================= */

static void print_state(const char *tag)
{
	char buf[128];
	int n = snprintf(buf, sizeof(buf), "%s: A=%ld(%d) B=%ld(%d) C=%ld(%d) D=%ld(%d)\r\n", tag,
	                 (long)actuator_state[ACTUATOR_A].dist, (int)actuator_state[ACTUATOR_A].status,
	                 (long)actuator_state[ACTUATOR_B].dist, (int)actuator_state[ACTUATOR_B].status,
	                 (long)actuator_state[ACTUATOR_C].dist, (int)actuator_state[ACTUATOR_C].status,
	                 (long)actuator_state[ACTUATOR_D].dist, (int)actuator_state[ACTUATOR_D].status);
	if (n < 0) return;
	if (n >= (int)sizeof(buf)) n = (int)sizeof(buf) - 1;
	HAL_UART_Transmit(&hcom_uart[COM1], (uint8_t *)buf, (uint16_t)n, 100);
}

/* ======================= Feedback control ======================= */
static void feedback(void){

}

/* USER CODE END 4 */

void Error_Handler(void)
{
  /* USER CODE BEGIN Error_Handler_Debug */
  /* User can add his own implementation to report the HAL error return state */
  __disable_irq();

  // Kill every actuator with direct register writes. No HAL calls: SysTick can't run
  // with interrupts off, and TIM1/GPIO may not be initialised yet.
  TIM1->CCR1 = 0;
  TIM1->CCR2 = 0;
  TIM1->CCR3 = 0;
  TIM1->CCR4 = 0;
  GPIOC->BRR = GPIO_A1_Pin | GPIO_A2_Pin | GPIO_B1_Pin | GPIO_B2_Pin
             | GPIO_C1_Pin | GPIO_C2_Pin | GPIO_D1_Pin | GPIO_D2_Pin;

  while (1)
  {
  }
  /* USER CODE END Error_Handler_Debug */
}
